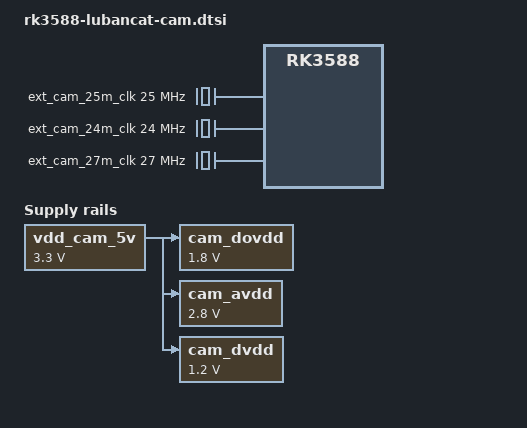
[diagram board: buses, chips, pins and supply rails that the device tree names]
// SPDX-License-Identifier: (GPL-2.0+ OR MIT)
/*
 * Copyright (c) 2020 Rockchip Electronics Co., Ltd.
 *
 */

/{
	ext_cam_25m_clk: external-camera-25m-clock {
		compatible = "fixed-clock";
		clock-frequency = <25000000>;
		clock-output-names = "ext_cam_25m_clk";
		#clock-cells = <0>;
	};

	ext_cam_24m_clk: external-camera-24m-clock {
		compatible = "fixed-clock";
		#clock-cells = <0>;
		clock-frequency = <24000000>;
		clock-output-names = "ext_cam_24m_clk";
	}; 

	ext_cam_27m_clk: external-camera-27m-clock {
		compatible = "fixed-clock";
		#clock-cells = <0>;
		clock-frequency = <27000000>;
		clock-output-names = "ext_cam_27m_clk";
	};

	vdd_cam_5v: vdd-cam-5v-regulator {
		compatible = "regulator-fixed";
		regulator-name = "vdd_cam_5v";
		regulator-always-on;
		regulator-boot-on;
		regulator-min-microvolt = <3300000>;
		regulator-max-microvolt = <3300000>;
	};

	cam_dovdd: cam-dovdd {
		compatible = "regulator-fixed";
		regulator-name = "cam_dovdd";
		regulator-always-on;
		regulator-boot-on;
		regulator-min-microvolt = <1800000>;
		regulator-max-microvolt = <1800000>;
		vin-supply = <&vdd_cam_5v>;
	};

	cam_avdd: cam-avdd {
		compatible = "regulator-fixed";
		regulator-name = "cam_avdd";
		regulator-always-on;
		regulator-boot-on;
		regulator-min-microvolt = <2800000>;
		regulator-max-microvolt = <2800000>;
		vin-supply = <&vdd_cam_5v>;
	};

	cam_dvdd: cam-dvdd {
		compatible = "regulator-fixed";
		regulator-name = "cam_dvdd";
		regulator-always-on;
		regulator-boot-on;
		regulator-min-microvolt = <1200000>;
		regulator-max-microvolt = <1200000>;
		vin-supply = <&vdd_cam_5v>;
	};
};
